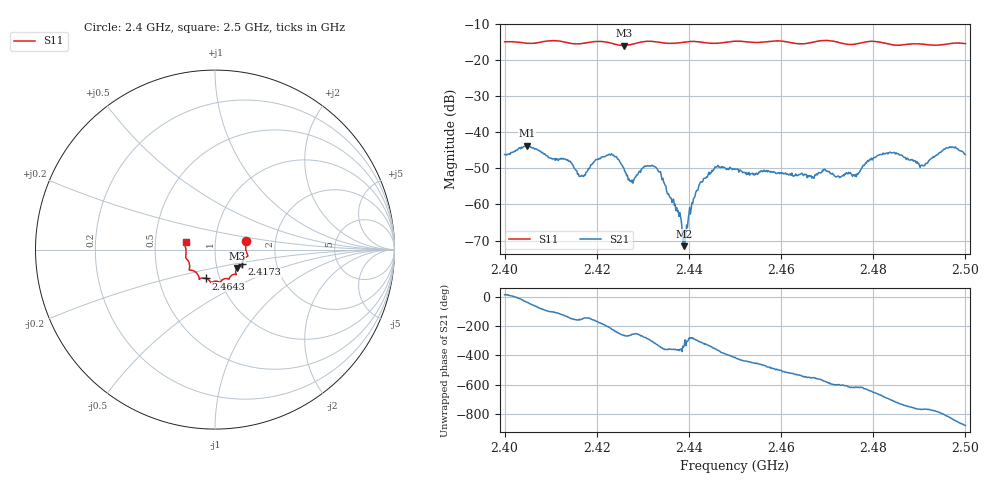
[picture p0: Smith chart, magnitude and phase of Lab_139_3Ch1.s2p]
# Hz S RI R 50
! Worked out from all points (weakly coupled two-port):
!   601 points, 2.4 GHz to 2.5 GHz, reference 50 ohm
!   highest |S21| = -43.69 dB at 2.4048 GHz (marker M1); lowest = -71.6 dB at 2.439 GHz (marker M2)
!   lowest |S11| = -15.9 dB at 2.4258 GHz (marker M3), VSWR 1.38, Z = 62.3 - j13.2 ohm
!   |S11| at or under -10 dB: start of sweep to end of sweep
!   S12 and S22 are empty: the file has one direction only
!   S11 on the Smith chart (normalised r, x): 2.4 GHz: 1.41, +0.14; 2.4173 GHz: 1.34, -0.23; 2.4643 GHz: 0.86, -0.29; 2.5 GHz: 0.72, +0.06
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2.4e9  0.1729 0.0486  0.00479 0.00113  0 0  0 0
2.404833e9  0.1709 0.0162  0.00518 -0.00399  0 0  0 0
2.413667e9  0.169 -0.0448  -0.0032 -0.00269  0 0  0 0
2.416667e9  0.1529 -0.0744  -0.00227 -0.00112  0 0  0 0
2.417333e9  0.152 -0.082  -0.00211 -0.00145  0 0  0 0
2.422667e9  0.1475 -0.0945  -0.00433 0.00247  0 0  0 0
2.425833e9  0.122 -0.1032  -0.000248 0.00321  0 0  0 0
2.4275e9  0.1153 -0.1186  -0.000321 0.00203  0 0  0 0
2.4305e9  0.1183 -0.1378  0.000557 0.0033  0 0  0 0
2.433333e9  0.1128 -0.1375  0.0026 0.00127  0 0  0 0
2.437833e9  0.0828 -0.1532  0.000676 -0.000101  0 0  0 0
2.439e9  0.0799 -0.1593  0.000228 0.000134  0 0  0 0
2.442667e9  0.0715 -0.1629  0.00137 0.00155  0 0  0 0
2.446e9  0.0475 -0.1647  0.00332 -1.27e-05  0 0  0 0
2.45e9  0.0286 -0.181  0.0018 -0.00249  0 0  0 0
2.464333e9  -0.0502 -0.1609  -0.00266 -4.49e-05  0 0  0 0
2.466667e9  -0.0761 -0.159  -0.00226 0.000548  0 0  0 0
2.476e9  -0.116 -0.1195  -0.000387 0.00244  0 0  0 0
2.483333e9  -0.141 -0.0899  0.0048 0.00202  0 0  0 0
2.490667e9  -0.1629 -0.0365  0.00228 -0.00262  0 0  0 0
2.496167e9  -0.167 0.0212  -0.000677 -0.00603  0 0  0 0
2.5e9  -0.1638 0.0428  -0.00462 -0.00174  0 0  0 0
